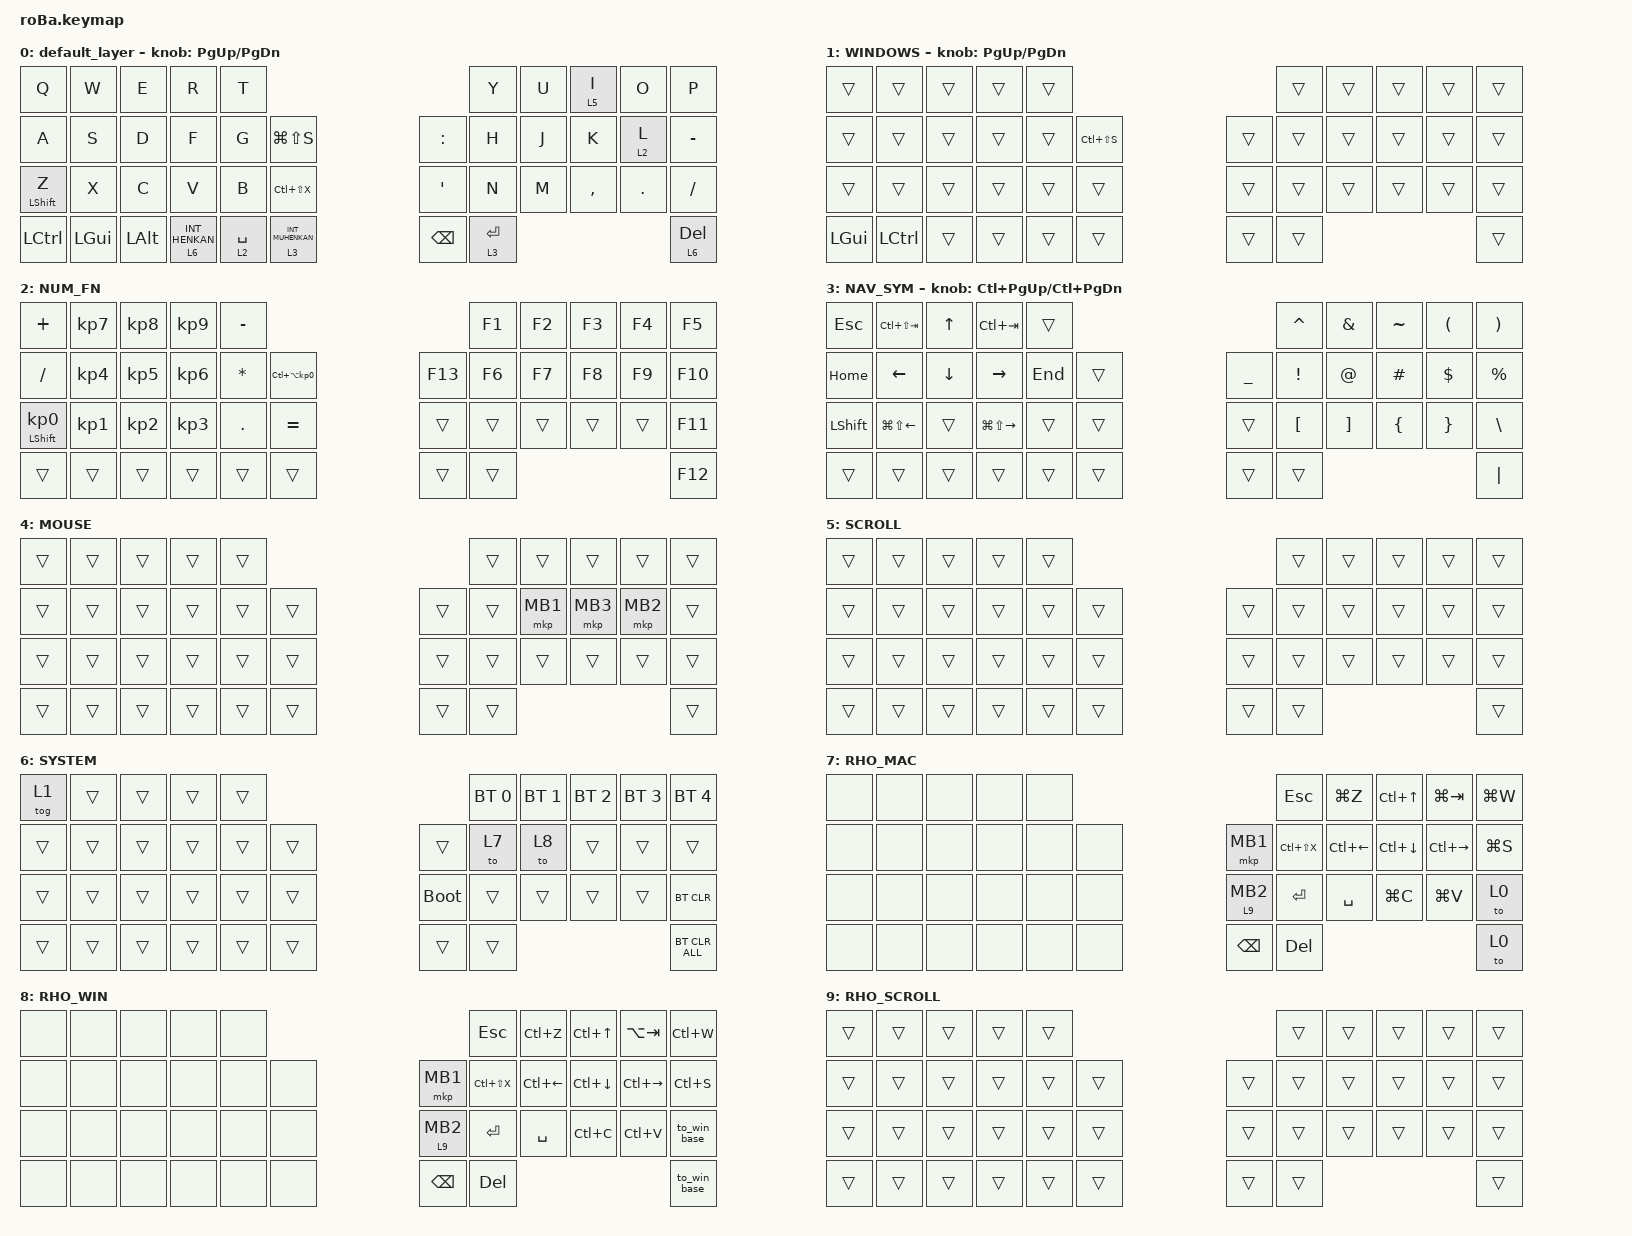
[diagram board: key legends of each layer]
#include <behaviors.dtsi>
#include <dt-bindings/zmk/bt.h>
#include <dt-bindings/zmk/keys.h>
#include <dt-bindings/zmk/pointing.h>

&mt {
    flavor = "balanced";
    quick-tap-ms = <0>;
    tapping-term-ms = <120>;
};

&lt {
    flavor = "balanced";
    tapping-term-ms = <120>;
};

&trackball {
    automouse-layer = <4>;
    scroll-layers = <2 5 9>;
};

/ {
    combos {
        compatible = "zmk,combos";

        tab {
            bindings = <&kp TAB>;
            key-positions = <11 12>;
        };

        shift_tab {
            bindings = <&kp LS(TAB)>;
            key-positions = <12 13>;
        };
    };

    macros {
        to_win_base: to_win_base {
            compatible = "zmk,behavior-macro";
            #binding-cells = <0>;
            bindings = <&to 0 &tog 1>;
            label = "TO_WIN_BASE";
        };
    };
    behaviors {
        ht_scroll: ht_scroll {
            compatible = "zmk,behavior-hold-tap";
            label = "HOLD_TAP_SCROLL";
            #binding-cells = <2>;
            flavor = "balanced";
            tapping-term-ms = <120>;
            bindings = <&mo>, <&mkp>;
        };
    };

    keymap {
        compatible = "zmk,keymap";

        // Layer 0: Base (Mac)
        default_layer {
            bindings = <
&kp Q             &kp W     &kp E     &kp R              &kp T                                                    &kp Y      &kp U      &lt 5 I    &kp O      &kp P
&kp A             &kp S     &kp D     &kp F              &kp G      &kp LG(LS(S))                    &kp COLON    &kp H      &kp J      &kp K      &lt 2 L    &kp MINUS
&mt LEFT_SHIFT Z  &kp X     &kp C     &kp V              &kp B      &kp LC(LS(X))                    &kp SQT      &kp N      &kp M      &kp COMMA  &kp DOT    &kp FSLH
&kp LCTRL         &kp LGUI  &kp LALT  &lt 6 INT_HENKAN   &lt 2 SPACE  &lt 3 INT_MUHENKAN             &kp BSPC     &lt 3 RET                                   &lt 6 DEL
            >;

            sensor-bindings = <&inc_dec_kp PG_UP PAGE_DOWN>;
        };

        // Layer 1: Windows (overlay)
        WINDOWS {
            bindings = <
&trans    &trans    &trans  &trans  &trans                                     &trans  &trans  &trans  &trans  &trans
&trans    &trans    &trans  &trans  &trans  &kp LC(LS(S))          &trans      &trans  &trans  &trans  &trans  &trans
&trans    &trans    &trans  &trans  &trans  &trans                 &trans      &trans  &trans  &trans  &trans  &trans
&kp LGUI  &kp LCTRL &trans  &trans  &trans  &trans                &trans      &trans                          &trans
            >;

            sensor-bindings = <&inc_dec_kp PG_UP PAGE_DOWN>;
        };

        // Layer 2: NUM+FN (scroll enabled via trackball)
        NUM_FN {
            bindings = <
&kp PLUS                    &kp KP_NUMBER_7  &kp KP_NUMBER_8  &kp KP_NUMBER_9  &kp MINUS                                                     &kp F1   &kp F2   &kp F3   &kp F4   &kp F5
&kp FSLH                    &kp KP_NUMBER_4  &kp KP_NUMBER_5  &kp KP_NUMBER_6  &kp ASTERISK  &kp LC(LA(KP_NUMBER_0))       &kp F13            &kp F6   &kp F7   &kp F8   &kp F9   &kp F10
&mt LEFT_SHIFT KP_NUMBER_0  &kp KP_NUMBER_1  &kp KP_NUMBER_2  &kp KP_NUMBER_3  &kp DOT       &kp EQUAL                    &trans             &trans   &trans   &trans   &trans   &kp F11
&trans                      &trans           &trans           &trans           &trans        &trans                        &trans             &trans                              &kp F12
            >;
        };

        // Layer 3: NAV+SYM
        NAV_SYM {
            bindings = <
&kp ESC         &kp LC(LS(TAB))      &kp UP     &kp LC(TAB)          &trans                                          &kp CARET  &kp AMPS   &kp TILDE  &kp LPAR   &kp RPAR
&kp HOME        &kp LEFT             &kp DOWN   &kp RIGHT            &kp END   &trans              &kp UNDERSCORE    &kp EXCL   &kp AT     &kp HASH   &kp DLLR   &kp PRCNT
&kp LEFT_SHIFT  &kp LG(LS(LEFT))     &trans     &kp LG(LS(RIGHT))   &trans    &trans              &trans            &kp LBKT   &kp RBKT   &kp LBRC   &kp RBRC   &kp BSLH
&trans          &trans               &trans     &trans               &trans    &trans                                &trans     &trans                            &kp PIPE
            >;

            sensor-bindings = <&inc_dec_kp LC(PAGE_UP) LC(PAGE_DOWN)>;
        };

        // Layer 4: Mouse (automouse)
        MOUSE {
            bindings = <
&trans  &trans  &trans  &trans  &trans                      &trans  &trans    &trans    &trans    &trans
&trans  &trans  &trans  &trans  &trans  &trans      &trans  &trans  &mkp MB1  &mkp MB3  &mkp MB2  &trans
&trans  &trans  &trans  &trans  &trans  &trans      &trans  &trans  &trans    &trans    &trans    &trans
&trans  &trans  &trans  &trans  &trans  &trans      &trans  &trans                                &trans
            >;
        };

        // Layer 5: Scroll (trackball becomes scroll wheel)
        SCROLL {
            bindings = <
&trans  &trans  &trans  &trans  &trans                      &trans  &trans  &trans  &trans  &trans
&trans  &trans  &trans  &trans  &trans  &trans      &trans  &trans  &trans  &trans  &trans  &trans
&trans  &trans  &trans  &trans  &trans  &trans      &trans  &trans  &trans  &trans  &trans  &trans
&trans  &trans  &trans  &trans  &trans  &trans      &trans  &trans                          &trans
            >;
        };

        // Layer 6: System (BT + RHO entry)
        SYSTEM {
            bindings = <
&tog 1  &trans  &trans  &trans  &trans                              &bt BT_SEL 0  &bt BT_SEL 1  &bt BT_SEL 2  &bt BT_SEL 3  &bt BT_SEL 4
&trans  &trans  &trans  &trans  &trans  &trans          &trans      &to 7         &to 8         &trans        &trans        &trans
&trans  &trans  &trans  &trans  &trans  &trans          &bootloader &trans        &trans        &trans        &trans        &bt BT_CLR
&trans  &trans  &trans  &trans  &trans  &trans                      &trans        &trans                                    &bt BT_CLR_ALL
            >;
        };

        // Layer 7: RHO_MAC (right hand only, Mac shortcuts)
        RHO_MAC {
            bindings = <
&none  &none  &none  &none  &none                       &kp ESC    &kp LG(Z)   &kp LC(UP)    &kp LG(TAB)    &kp LG(W)
&none  &none  &none  &none  &none  &none       &mkp MB1 &kp LC(LS(X))  &kp LC(LEFT) &kp LC(DOWN) &kp LC(RIGHT)  &kp LG(S)
&none  &none  &none  &none  &none  &none       &ht_scroll 9 MB2 &kp RET    &kp SPACE    &kp LG(C)    &kp LG(V)      &to 0
&none  &none  &none  &none  &none  &none                &kp BSPC   &kp DEL                                  &to 0
            >;
        };

        // Layer 8: RHO_WIN (right hand only, Windows shortcuts)
        RHO_WIN {
            bindings = <
&none  &none  &none  &none  &none                       &kp ESC    &kp LC(Z)    &kp LC(UP)    &kp LA(TAB)    &kp LC(W)
&none  &none  &none  &none  &none  &none       &mkp MB1 &kp LC(LS(X))  &kp LC(LEFT) &kp LC(DOWN)  &kp LC(RIGHT)  &kp LC(S)
&none  &none  &none  &none  &none  &none       &ht_scroll 9 MB2 &kp RET    &kp SPACE    &kp LC(C)     &kp LC(V)      &to_win_base
&none  &none  &none  &none  &none  &none                &kp BSPC   &kp DEL                                   &to_win_base
            >;
        };

        // Layer 9: RHO_SCROLL (MB2長押し中のスクロールモード、RHO layers用)
        RHO_SCROLL {
            bindings = <
&trans  &trans  &trans  &trans  &trans                      &trans  &trans  &trans  &trans  &trans
&trans  &trans  &trans  &trans  &trans  &trans      &trans  &trans  &trans  &trans  &trans  &trans
&trans  &trans  &trans  &trans  &trans  &trans      &trans  &trans  &trans  &trans  &trans  &trans
&trans  &trans  &trans  &trans  &trans  &trans      &trans  &trans                          &trans
            >;
        };
    };
};
